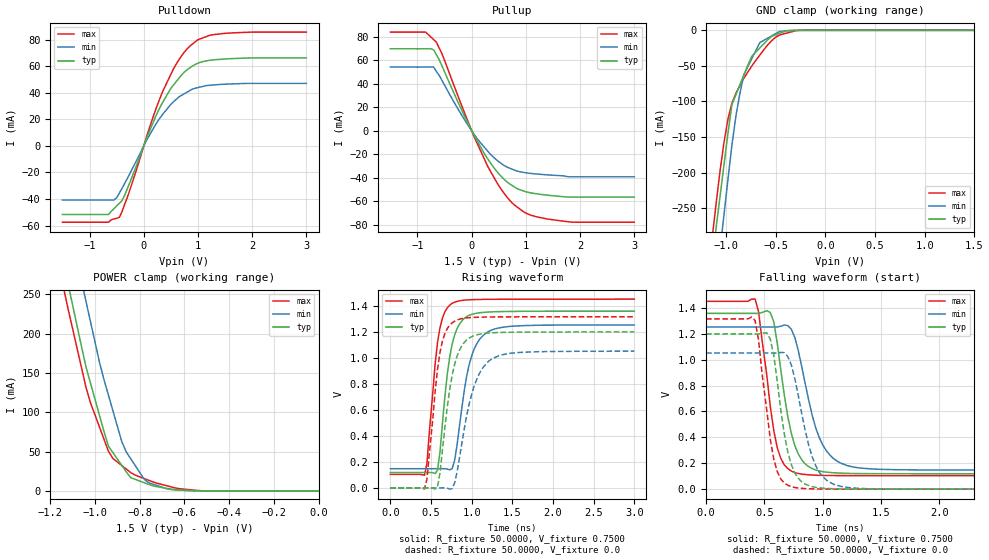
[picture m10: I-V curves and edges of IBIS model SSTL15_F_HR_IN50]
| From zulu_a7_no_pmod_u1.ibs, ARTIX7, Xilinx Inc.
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[Model]  SSTL15_F_HR_IN50
Model_type I/O
Polarity   Non-Inverting
Enable   Active-Low
Vinl = 0.65
Vinh = 0.85
Vmeas =  0.7500V
Cref =   0.0F
Rref =   50.0000
Vref =   0.7500V
C_comp   7.7pF   7.52pF   7.74pF
[Model Spec]
Vinl   0.65   0.6125   0.6875
Vinh   0.85   0.8125   0.8875
[Temperature Range]   25.0000   85.0000   0.0
[Voltage Range]   1.5000V   1.4250V   1.5750V
[Add Submodel]
| Submodel Name   Mode
IN50_1V5   Non-Driving
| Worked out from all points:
|   slope of the pulldown table from 0 to 0.225 V, typ, clamps not added: 9.96 ohm
|   slope of the pullup table from 0 to 0.225 V, typ, clamps not added: 11.9 ohm
|   GND clamp passes 1 mA (typ) near -0.40 V on its own axis
|   POWER clamp passes 1 mA (typ) near -0.61 V on its own axis
|   rising waveform, R_fixture 50.0000, V_fixture 0.7500: 20-80 % time 140ps typ, 182ps min, 125ps max; typ from 0.119 V to 1.36 V
|   rising waveform, R_fixture 50.0000, V_fixture 0.0: 20-80 % time 163ps typ, 223ps min, 135ps max; typ from 0 V to 1.2 V
|   falling waveform, R_fixture 50.0000, V_fixture 0.7500: 20-80 % time 138ps typ, 186ps min, 123ps max; typ from 1.36 V to 0.119 V
|   falling waveform, R_fixture 50.0000, V_fixture 0.0: 20-80 % time 124ps typ, 164ps min, 113ps max; typ from 1.2 V to 0 V
[Pulldown]
|Voltage   I(typ)   I(min)   I(max)
-1.5V     -51.63mA   -40.71mA   -57.42mA
-650mV    -51.63mA   -40.71mA   -57.42mA
-550mV    -47.23mA   -40.71mA   -55.01mA
-450mV    -43.18mA   -35.51mA   -53.76mA
-350mV    -36.88mA   -28.07mA   -43.69mA
50mV      5.504mA    4.032mA    6.676mA
350mV     32.91mA    23.84mA    41.01mA
650mV     50.97mA    36.87mA    64.95mA
950mV     61.33mA    43.42mA    78.43mA
1.25V     64.57mA    45.73mA    83.58mA
1.5V      65.41mA    46.46mA    84.73mA
3V        66.25mA    47.07mA    85.68mA
[Pullup]
|Voltage   I(typ)   I(min)   I(max)
-1.5V     69.92mA    54.32mA    84.17mA
-850mV    69.92mA    54.32mA    84.17mA
-700mV    68.89mA    54.32mA    77.67mA
-650mV    64.75mA    50.49mA    75.5mA
-550mV    55.55mA    43.15mA    65.94mA
-100mV    9.462mA    7.101mA    11.57mA
250mV     -20.75mA   -14.87mA   -25.67mA
500mV     -36.6mA    -26.3mA    -46.73mA
800mV     -48.15mA   -33.72mA   -63.66mA
1.05V     -52.5mA    -36.13mA   -71.17mA
1.5V      -55.35mA   -37.85mA   -75.86mA
3V        -56.56mA   -39.2mA    -77.9mA
[GND_clamp]
|Voltage   I(typ)   I(min)   I(max)
-1.5V     -843mA     -931.9mA   -809.3mA
-1.14V    -323.5mA   -409mA     -293.5mA
-1.1V     -278.8mA   -359.1mA   -244.5mA
-1.06V    -234mA     -309.2mA   -198.1mA
-1.02V    -189.3mA   -259.4mA   -157.5mA
-940mV    -104.2mA   -161mA     -102.5mA
-820mV    -62.82mA   -62.42mA   -67.24mA
-740mV    -36.38mA   -39.71mA   -50.15mA
-660mV    -24.84mA   -17.33mA   -34.97mA
-500mV    -6.214mA   -4.645mA   -9.669mA
-300mV    -39.59uA   -39.25uA   -574.1uA
1.5V      8.411nA    95.08nA    7.367nA
[POWER_clamp]
|Voltage   I(typ)   I(min)   I(max)
-1.5V     827.8mA    915mA      794.3mA
-1.14V    289.3mA    377.8mA    257.4mA
-1.12V    262.8mA    349.6mA    231mA
-1.1V     236.2mA    321.4mA    206.1mA
-1.04V    157.4mA    240.8mA    131.5mA
-980mV    96.18mA    163.7mA    81.25mA
-940mV    56.93mA    121.9mA    50.56mA
-880mV    32.42mA    62.53mA    32.29mA
-840mV    16.85mA    40.92mA    23.27mA
-780mV    10.44mA    14.9mA     15.73mA
-680mV    3.288mA    2.828mA    6.662mA
0V        0A         0A         0A
[Ramp]
| variable   typ   min   max
dV/dt_r  0.7188/0.1624n   0.6300/0.2251n   0.7884/0.1254n
dV/dt_f  0.7493/0.1576n   0.6642/0.2170n   0.8146/0.1236n
R_load = 50.0000
[Rising Waveform]
R_fixture= 50.0000
V_fixture= 0.7500
V_fixture_min= 0.7125
V_fixture_max= 0.7875
|time   V(typ)   V(min)   V(max)
0s        118.6mV    147.4mV    103.9mV
420ps     118.6mV    147.4mV    97.6mV
450ps     118.5mV    147.4mV    190.6mV
580ps     136.4mV    147.4mV    1.116V
700ps     873.3mV    145mV      1.383V
760ps     1.104V     148.6mV    1.417V
850ps     1.258V     475.7mV    1.436V
970ps     1.325V     948.3mV    1.444V
1.15ns    1.348V     1.175V     1.448V
3ns       1.357V     1.251V     1.45V
[Rising Waveform]
R_fixture= 50.0000
V_fixture= 0.0
|time   V(typ)   V(min)   V(max)
0s        0V         0V         0V
420ps     2.517uV    908.4nV    -8.033mV
450ps     -14.95uV   253.6nV    69.08mV
580ps     8.898mV    2.081uV    909.9mV
640ps     287.8mV    174.1uV    1.128V
760ps     866.1mV    -5.524mV   1.267V
850ps     1.058V     231.5mV    1.296V
1ns       1.161V     718.3mV    1.308V
1.21ns    1.189V     973.3mV    1.312V
3ns       1.198V     1.05V      1.314V
[Falling Waveform]
R_fixture= 50.0000
V_fixture= 0.7500
V_fixture_min= 0.7125
V_fixture_max= 0.7875
|time   V(typ)   V(min)   V(max)
0s        1.357V     1.252V     1.45V
420ps     1.357V     1.252V     1.467V
450ps     1.356V     1.252V     1.369V
580ps     1.292V     1.251V     452.8mV
640ps     922.5mV    1.258V     238.2mV
730ps     433.5mV    1.235V     139.8mV
820ps     227mV      945.9mV    116.4mV
940ps     148.2mV    472.2mV    107.7mV
1.15ns    124.1mV    202.8mV    104.8mV
3ns       118.7mV    147.6mV    104mV
[Falling Waveform]
R_fixture= 50.0000
V_fixture= 0.0
|time   V(typ)   V(min)   V(max)
0s        1.198V     1.051V     1.314V
420ps     1.198V     1.051V     1.301V
450ps     1.198V     1.051V     1.149V
550ps     1.159V     1.051V     386.1mV
610ps     832.1mV    1.051V     135.2mV
700ps     288mV      1.024V     30.39mV
790ps     84.87mV    723.3mV    8.81mV
910ps     19mV       248.4mV    2.32mV
1.09ns    3.386mV    39.35mV    521.1uV
3ns       72.61uV    136.1uV    51.16uV
